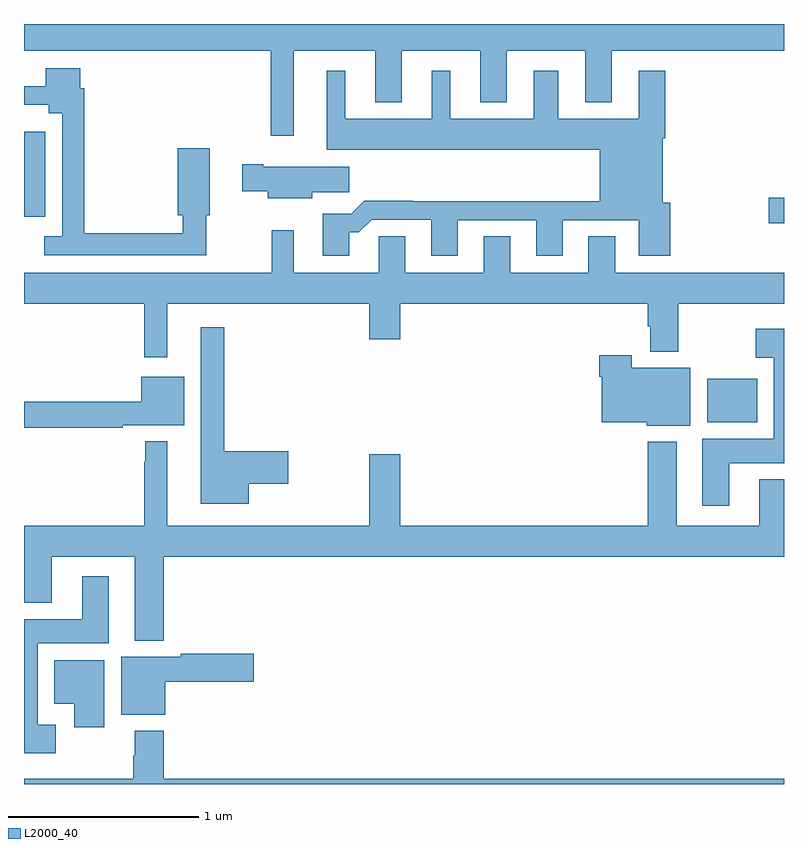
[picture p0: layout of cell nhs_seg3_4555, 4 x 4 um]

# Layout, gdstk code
import gdstk
lib = gdstk.Library(unit=1e-6, precision=1e-09)
def R(c, l, rs):  # rectangles x0, y0, x1, y1
    for r in rs: c.add(gdstk.rectangle(r[:2], r[2:], *l))
def P(c, l, *ps):  # polygons
    for p in ps: c.add(gdstk.Polygon(p, *l))
L2000_40 = (2000, 40)

nhs_seg3_4555 = lib.new_cell('nhs_seg3_4555')
R(nhs_seg3_4555, L2000_40, [(358.595,688.304,358.858,688.534), (358.92,689.351,359,689.486), (355,689.385,355.111,689.833)])
P(nhs_seg3_4555, L2000_40, [(356.419,690.26),(356.849,690.26),(356.849,689.987),(356.989,689.987),(356.989,690.26),(357.401,690.26),(357.401,689.987),(357.541,689.987),(357.541,690.26),(357.953,690.26),(357.953,689.987),(358.093,689.987),(358.093,690.26),(359,690.26),(359,690.4),(355,690.4),(355,690.26),(356.298,690.26),(356.298,689.811),(356.419,689.811)],
  [(355.96,689.393),(355.978,689.393),(355.978,689.746),(355.808,689.746),(355.808,689.393),(355.835,689.393),(355.835,689.3),(355.316,689.3),(355.316,690.062),(355.297,690.062),(355.297,690.166),(355.115,690.166),(355.115,690.072),(355,690.072),(355,689.976),(355.13,689.976),(355.13,689.93),(355.2,689.93),(355.2,689.284),(355.107,689.284),(355.107,689.184),(355.96,689.184)],
  [(356.713,689.303),(356.762,689.303),(356.829,689.37),(357.143,689.37),(357.143,689.181),(357.283,689.181),(357.283,689.367),(357.695,689.367),(357.695,689.181),(357.835,689.181),(357.835,689.367),(358.235,689.367),(358.235,689.181),(358.4,689.181),(358.4,689.46),(358.363,689.46),(358.363,689.798),(358.376,689.798),(358.376,690.154),(358.235,690.154),(358.235,689.902),(357.811,689.902),(357.811,690.154),(357.683,690.154),(357.683,689.902),(357.244,689.902),(357.244,690.154),(357.146,690.154),(357.146,689.902),(356.692,689.902),(356.692,690.154),(356.594,690.154),(356.594,689.738),(358.031,689.738),(358.031,689.468),(357.047,689.468),(357.047,689.471),(356.792,689.471),(356.722,689.401),(356.573,689.401),(356.573,689.181),(356.713,689.181)],
  [(356.518,689.515),(356.713,689.515),(356.713,689.65),(356.26,689.65),(356.26,689.663),(356.148,689.663),(356.148,689.521),(356.282,689.521),(356.282,689.483),(356.518,689.483)],
  [(355.753,688.928),(356.816,688.928),(356.816,688.74),(356.98,688.74),(356.98,688.928),(358.283,688.928),(358.283,688.808),(358.295,688.808),(358.295,688.676),(358.443,688.676),(358.443,688.928),(359,688.928),(359,689.092),(358.111,689.092),(358.111,689.282),(357.971,689.282),(357.971,689.092),(357.559,689.092),(357.559,689.282),(357.419,689.282),(357.419,689.092),(357.007,689.092),(357.007,689.282),(356.868,689.282),(356.868,689.092),(356.419,689.092),(356.419,689.314),(356.305,689.314),(356.305,689.092),(355,689.092),(355,688.928),(355.632,688.928),(355.632,688.647),(355.753,688.647)],
  [(356.182,687.98),(356.392,687.98),(356.392,688.151),(356.053,688.151),(356.053,688.804),(355.931,688.804),(355.931,687.875),(356.182,687.875)],
  [(358.711,688.088),(359,688.088),(359,688.795),(358.851,688.795),(358.851,688.643),(358.946,688.643),(358.946,688.216),(358.571,688.216),(358.571,687.864),(358.711,687.864)],
  [(358.507,688.591),(358.198,688.591),(358.198,688.657),(358.028,688.657),(358.028,688.544),(358.04,688.544),(358.04,688.304),(358.278,688.304),(358.278,688.286),(358.507,688.286)],
  [(355.52,688.289),(355.843,688.289),(355.843,688.543),(355.616,688.543),(355.616,688.412),(355,688.412),(355,688.276),(355.52,688.276)],
  [(355.736,687.596),(359,687.596),(359,688.003),(358.871,688.003),(358.871,687.76),(358.435,687.76),(358.435,688.201),(358.283,688.201),(358.283,687.76),(356.98,687.76),(356.98,688.135),(356.816,688.135),(356.816,687.76),(355.753,687.76),(355.753,688.204),(355.638,688.204),(355.638,688.097),(355.632,688.097),(355.632,687.76),(355,687.76),(355,687.353),(355.147,687.353),(355.147,687.596),(355.583,687.596),(355.583,687.155),(355.736,687.155)],
  [(355.168,686.713),(355.072,686.713),(355.072,687.14),(355.447,687.14),(355.447,687.493),(355.307,687.493),(355.307,687.268),(355,687.268),(355,686.561),(355.168,686.561)],
  [(355.744,686.939),(356.209,686.939),(356.209,687.086),(355.824,687.086),(355.824,687.07),(355.511,687.07),(355.511,686.765),(355.744,686.765)],
  [(355.423,687.052),(355.16,687.052),(355.16,686.822),(355.265,686.822),(355.265,686.7),(355.423,686.7)],
  [(359,686.428),(355.736,686.428),(355.736,686.68),(355.583,686.68),(355.583,686.549),(355.576,686.549),(355.576,686.428),(355,686.428),(355,686.4),(359,686.4)])

lib.write_gds('nhs_seg3_4555.gds')
